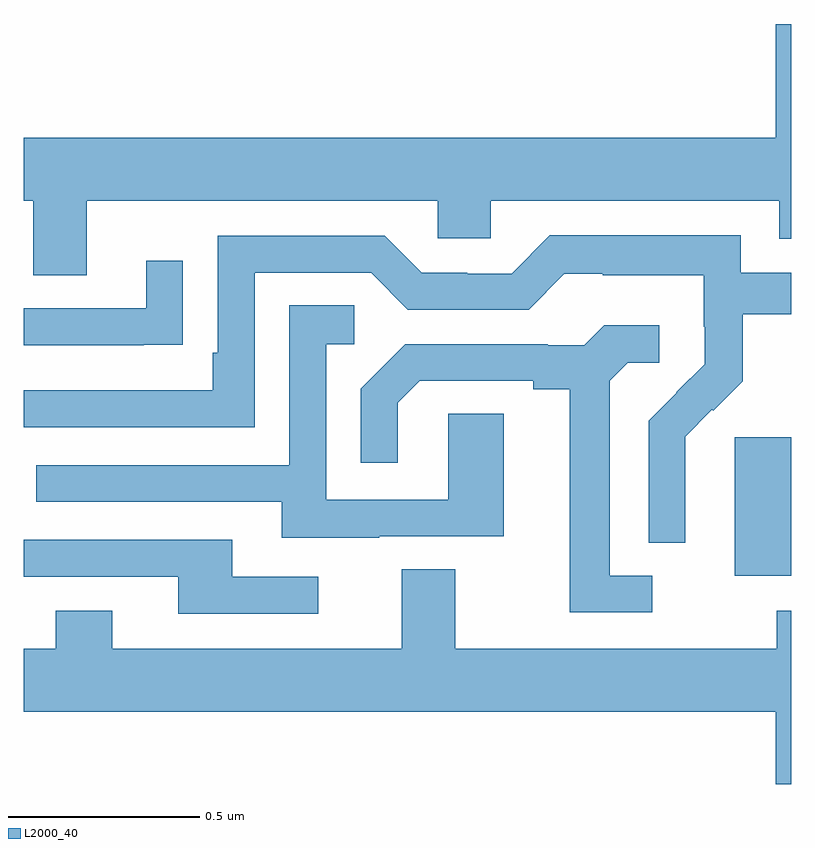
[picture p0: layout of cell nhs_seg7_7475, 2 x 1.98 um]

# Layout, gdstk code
import gdstk
lib = gdstk.Library(unit=1e-6, precision=1e-09)
def R(c, l, rs):  # rectangles x0, y0, x1, y1
    for r in rs: c.add(gdstk.rectangle(r[:2], r[2:], *l))
def P(c, l, *ps):  # polygons
    for p in ps: c.add(gdstk.Polygon(p, *l))
L2000_40 = (2000, 40)

nhs_seg7_7475 = lib.new_cell('nhs_seg7_7475')
R(nhs_seg7_7475, L2000_40, [(212.852,1075.562,213,1075.923)])
P(nhs_seg7_7475, L2000_40, [(211.165,1076.54),(212.079,1076.54),(212.079,1076.442),(212.217,1076.442),(212.217,1076.54),(212.969,1076.54),(212.969,1076.441),(213,1076.441),(213,1077),(212.96,1077),(212.96,1076.704),(211,1076.704),(211,1076.54),(211.025,1076.54),(211.025,1076.346),(211.165,1076.346)],
  [(212.724,1075.802),(212.723,1075.802),(212.723,1075.925),(212.793,1075.995),(212.796,1075.992),(212.873,1076.069),(212.873,1076.244),(213,1076.244),(213,1076.352),(212.868,1076.352),(212.868,1076.449),(212.371,1076.449),(212.271,1076.349),(212.156,1076.349),(212.156,1076.352),(212.037,1076.352),(211.941,1076.448),(211.506,1076.448),(211.506,1076.143),(211.493,1076.143),(211.493,1076.046),(211,1076.046),(211,1075.95),(211.602,1075.95),(211.602,1076.352),(211.905,1076.352),(212.001,1076.256),(212.316,1076.256),(212.409,1076.349),(212.509,1076.349),(212.509,1076.345),(212.772,1076.345),(212.772,1076.211),(212.774,1076.211),(212.774,1076.114),(212.7,1076.04),(212.701,1076.039),(212.628,1075.966),(212.628,1075.648),(212.724,1075.648)],
  [(211.313,1076.164),(211.415,1076.164),(211.415,1076.383),(211.319,1076.383),(211.319,1076.259),(211,1076.259),(211,1076.163),(211.313,1076.163)],
  [(211.927,1075.665),(212.251,1075.665),(212.251,1075.985),(212.106,1075.985),(212.106,1075.761),(211.788,1075.761),(211.788,1076.166),(211.861,1076.166),(211.861,1076.267),(211.692,1076.267),(211.692,1075.851),(211.033,1075.851),(211.033,1075.755),(211.673,1075.755),(211.673,1075.661),(211.927,1075.661)],
  [(212.638,1075.563),(212.527,1075.563),(212.527,1076.071),(212.574,1076.118),(212.656,1076.118),(212.656,1076.215),(212.512,1076.215),(212.46,1076.163),(212.366,1076.163),(212.366,1076.166),(211.994,1076.166),(211.878,1076.05),(211.878,1075.857),(211.975,1075.857),(211.975,1076.013),(212.032,1076.07),(212.327,1076.07),(212.327,1076.048),(212.423,1076.048),(212.423,1075.467),(212.638,1075.467)],
  [(211.768,1075.56),(211.543,1075.56),(211.543,1075.656),(211,1075.656),(211,1075.56),(211.403,1075.56),(211.403,1075.464),(211.768,1075.464)],
  [(213,1075.471),(212.962,1075.471),(212.962,1075.372),(212.125,1075.372),(212.125,1075.58),(211.985,1075.58),(211.985,1075.372),(211.231,1075.372),(211.231,1075.471),(211.084,1075.471),(211.084,1075.372),(211,1075.372),(211,1075.208),(212.96,1075.208),(212.96,1075.02),(213,1075.02)])

lib.write_gds('nhs_seg7_7475.gds')
